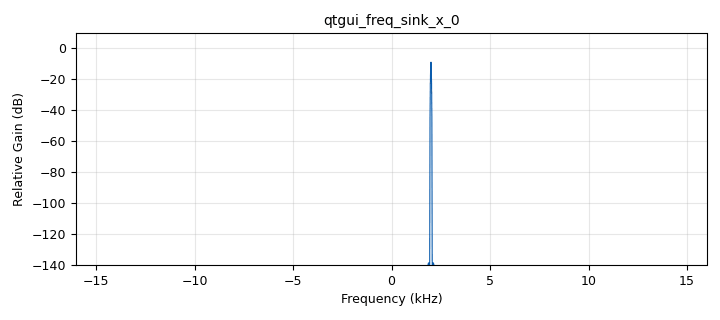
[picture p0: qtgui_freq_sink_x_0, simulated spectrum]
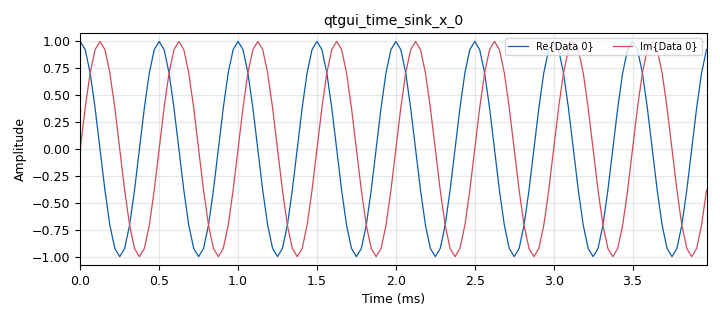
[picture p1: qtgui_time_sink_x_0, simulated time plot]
options:
  parameters:
    author: Barry Duggan
    copyright: '2020'
    description: Sample Rate demo
    generate_options: qt_gui
    id: srdemo
    output_language: python
    title: Sample Rate Demo
  states: {}

blocks:
- name: freq
  id: variable_qtgui_range
  parameters:
    label: Frequency
    orient: Qt.Horizontal
    start: '1000'
    step: '1000'
    stop: '40000'
    value: '2000'
  states: {}
- name: samp_rate
  id: variable
  parameters:
    value: '32000'
  states: {}
- name: analog_sig_source_x_0
  id: analog_sig_source_x
  parameters:
    amp: '1'
    freq: '2000'
    offset: '0'
    phase: '0'
    samp_rate: samp_rate
    type: complex
    waveform: analog.GR_SIN_WAVE
  states: {}
- name: blocks_throttle_0
  id: blocks_throttle
  parameters:
    samples_per_second: samp_rate
    type: complex
  states: {}
- name: qtgui_freq_sink_x_0
  id: qtgui_freq_sink_x
  parameters:
    bw: samp_rate
    fc: '0'
    fftsize: '2048'
    type: complex
    wintype: firdes.WIN_BLACKMAN_hARRIS
  states: {}
- name: qtgui_time_sink_x_0
  id: qtgui_time_sink_x
  parameters:
    size: '128'
    srate: samp_rate
    type: complex
  states: {}

connections:
- [analog_sig_source_x_0, '0', blocks_throttle_0, '0']
- [blocks_throttle_0, '0', qtgui_freq_sink_x_0, '0']
- [blocks_throttle_0, '0', qtgui_time_sink_x_0, '0']

metadata:
  file_format: 1
